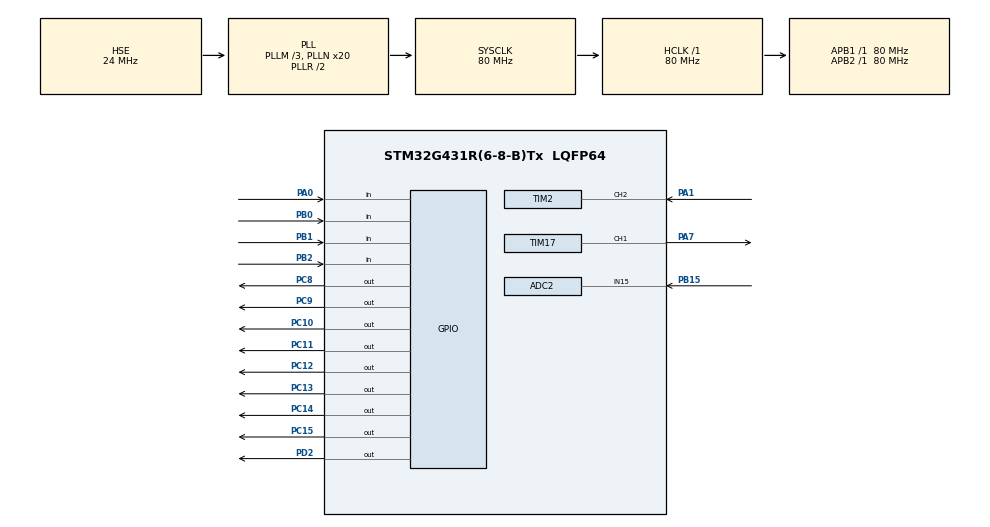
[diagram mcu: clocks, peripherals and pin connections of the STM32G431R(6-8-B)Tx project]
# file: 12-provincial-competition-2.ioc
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ADC2.Channel-0\#ChannelRegularConversion=ADC_CHANNEL_15
ADC2.NbrOfConversionFlag=1
ADC2.OffsetNumber-0\#ChannelRegularConversion=ADC_OFFSET_NONE
ADC2.Rank-0\#ChannelRegularConversion=1
ADC2.SamplingTime-0\#ChannelRegularConversion=ADC_SAMPLETIME_2CYCLES_5
Mcu.Family=STM32G4
Mcu.Name=STM32G431R(6-8-B)Tx
Mcu.Package=LQFP64
NVIC.PriorityGroup=NVIC_PRIORITYGROUP_4
NVIC.TIM2_IRQn=true\:0\:0\:false\:false\:true\:true\:true\:true
PA0.GPIO_PuPd=GPIO_PULLUP
PA0.Signal=GPIO_Input
PA1.Signal=S_TIM2_CH2
PA13.Mode=Serial_Wire
PA13.Signal=SYS_JTMS-SWDIO
PA14.Mode=Serial_Wire
PA14.Signal=SYS_JTCK-SWCLK
PA7.Signal=S_TIM17_CH1
PB0.GPIO_PuPd=GPIO_PULLUP
PB0.Signal=GPIO_Input
PB1.GPIO_PuPd=GPIO_PULLUP
PB1.Signal=GPIO_Input
PB15.Mode=IN15-Single-Ended
PB15.Signal=ADC2_IN15
PB2.GPIO_PuPd=GPIO_PULLUP
PB2.Signal=GPIO_Input
PC10.PinState=GPIO_PIN_SET
PC10.Signal=GPIO_Output
PC11.PinState=GPIO_PIN_SET
PC11.Signal=GPIO_Output
PC12.PinState=GPIO_PIN_SET
PC12.Signal=GPIO_Output
PC13.PinState=GPIO_PIN_SET
PC13.Signal=GPIO_Output
PC14-OSC32_IN.PinState=GPIO_PIN_SET
PC14-OSC32_IN.Signal=GPIO_Output
PC15-OSC32_OUT.PinState=GPIO_PIN_SET
PC15-OSC32_OUT.Signal=GPIO_Output
PC8.PinState=GPIO_PIN_SET
PC8.Signal=GPIO_Output
PC9.PinState=GPIO_PIN_SET
PC9.Signal=GPIO_Output
PD2.Signal=GPIO_Output
PF0-OSC_IN.Mode=HSE-External-Oscillator
PF0-OSC_IN.Signal=RCC_OSC_IN
PF1-OSC_OUT.Mode=HSE-External-Oscillator
PF1-OSC_OUT.Signal=RCC_OSC_OUT
ProjectManager.HeapSize=0x200
ProjectManager.StackSize=0x400
ProjectManager.TargetToolchain=MDK-ARM V5.32
RCC.ADC12Freq_Value=80000000
RCC.AHBFreq_Value=80000000
RCC.APB1Freq_Value=80000000
RCC.APB1TimFreq_Value=80000000
RCC.APB2Freq_Value=80000000
RCC.APB2TimFreq_Value=80000000
RCC.CortexFreq_Value=80000000
RCC.EXTERNAL_CLOCK_VALUE=12288000
RCC.HCLKFreq_Value=80000000
RCC.HSE_VALUE=24000000
RCC.HSI48_VALUE=48000000
RCC.HSI_VALUE=16000000
RCC.LSE_VALUE=32768
RCC.PLLM=RCC_PLLM_DIV3
RCC.PLLN=20
RCC.PLLSourceVirtual=RCC_PLLSOURCE_HSE
RCC.SYSCLKFreq_VALUE=80000000
RCC.SYSCLKSource=RCC_SYSCLKSOURCE_PLLCLK
RCC.USBFreq_Value=80000000
RCC.VCOOutputFreq_Value=160000000
SH.S_TIM17_CH1.0=TIM17_CH1,PWM Generation1 CH1
SH.S_TIM2_CH2.0=TIM2_CH2,Input_Capture2_from_TI2
TIM17.Channel=TIM_CHANNEL_1
TIM17.PeriodNoDither=100-1
TIM17.Prescaler=800-1
TIM2.Channel-Input_Capture2_from_TI2=TIM_CHANNEL_2
TIM2.Prescaler=80-1
VP_SYS_VS_DBSignals.Mode=DisableDeadBatterySignals
VP_TIM17_VS_ClockSourceINT.Mode=Enable_Timer
board=custom

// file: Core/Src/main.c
/* USER CODE BEGIN Header */
/**
  ******************************************************************************
  * @file           : main.c
  * @brief          : Main program body
  ******************************************************************************
  * @attention
  *
  * Copyright (c) 2025 STMicroelectronics.
  * All rights reserved.
  *
  * This software is licensed under terms that can be found in the LICENSE file
  * in the root directory of this software component.
  * If no LICENSE file comes with this software, it is provided AS-IS.
  *
  ******************************************************************************
  */
/* USER CODE END Header */
#include "main.h"
#include "adc.h"
#include "tim.h"
#include "gpio.h"

/* USER CODE BEGIN Includes */
#include "stdio.h"
#include "stdint.h"
#include "string.h"
#include "lcd.h"
/* USER CODE END Includes */

/* USER CODE BEGIN PV */
char text[20];
double r37;  // R37的值
uint32_t frq=0;
uint8_t setting=0, R=4, led_func_open=1;
uint8_t key_val, key_up, key_down, key_last_val;
/* USER CODE END PV */

void SystemClock_Config(void);
/* USER CODE BEGIN PFP */
void LCD_Proc(void);
void KEY_Proc(void);
void LED_Proc(void);
void LED_Show(uint8_t led, uint8_t mode);
/* USER CODE END PFP */

int main(void)
{

  /* MCU Configuration--------------------------------------------------------*/

  /* Reset of all peripherals, Initializes the Flash interface and the Systick. */
  HAL_Init();

  /* Configure the system clock */
  SystemClock_Config();

  /* Initialize all configured peripherals */
  MX_GPIO_Init();
  MX_ADC2_Init();
  MX_TIM2_Init();
  MX_TIM17_Init();
  /* USER CODE BEGIN 2 */
    LCD_Init();
    LCD_Clear(Black);
    LCD_SetBackColor(Black);
    LCD_SetTextColor(White);
    // ADC
    HAL_ADC_Start(&hadc2);
    HAL_ADCEx_Calibration_Start(&hadc2, ADC_SINGLE_ENDED);
    // TIM
    HAL_TIM_IC_Start_IT(&htim2, TIM_CHANNEL_2);
    HAL_TIM_PWM_Start(&htim17, TIM_CHANNEL_1);
  /* USER CODE END 2 */

  /* Infinite loop */
  /* USER CODE BEGIN WHILE */
  while (1)
  {
      LCD_Proc();
      KEY_Proc();
      LED_Proc();
    /* USER CODE END WHILE */

  }
}

void SystemClock_Config(void)
{
  RCC_OscInitTypeDef RCC_OscInitStruct = {0};
  RCC_ClkInitTypeDef RCC_ClkInitStruct = {0};

  /** Configure the main internal regulator output voltage
  */
  HAL_PWREx_ControlVoltageScaling(PWR_REGULATOR_VOLTAGE_SCALE1);

  /** Initializes the RCC Oscillators according to the specified parameters
  * in the RCC_OscInitTypeDef structure.
  */
  RCC_OscInitStruct.OscillatorType = RCC_OSCILLATORTYPE_HSE;
  RCC_OscInitStruct.HSEState = RCC_HSE_ON;
  RCC_OscInitStruct.PLL.PLLState = RCC_PLL_ON;
  RCC_OscInitStruct.PLL.PLLSource = RCC_PLLSOURCE_HSE;
  RCC_OscInitStruct.PLL.PLLM = RCC_PLLM_DIV3;
  RCC_OscInitStruct.PLL.PLLN = 20;
  RCC_OscInitStruct.PLL.PLLP = RCC_PLLP_DIV2;
  RCC_OscInitStruct.PLL.PLLQ = RCC_PLLQ_DIV2;
  RCC_OscInitStruct.PLL.PLLR = RCC_PLLR_DIV2;
  if (HAL_RCC_OscConfig(&RCC_OscInitStruct) != HAL_OK)
  {
    Error_Handler();
  }

  /** Initializes the CPU, AHB and APB buses clocks
  */
  RCC_ClkInitStruct.ClockType = RCC_CLOCKTYPE_HCLK|RCC_CLOCKTYPE_SYSCLK
                              |RCC_CLOCKTYPE_PCLK1|RCC_CLOCKTYPE_PCLK2;
  RCC_ClkInitStruct.SYSCLKSource = RCC_SYSCLKSOURCE_PLLCLK;
  RCC_ClkInitStruct.AHBCLKDivider = RCC_SYSCLK_DIV1;
  RCC_ClkInitStruct.APB1CLKDivider = RCC_HCLK_DIV1;
  RCC_ClkInitStruct.APB2CLKDivider = RCC_HCLK_DIV1;

  if (HAL_RCC_ClockConfig(&RCC_ClkInitStruct, FLASH_LATENCY_2) != HAL_OK)
  {
    Error_Handler();
  }
}

/* USER CODE BEGIN 4 */
double Get_ADCVol(ADC_HandleTypeDef* hadc){
    HAL_ADC_Start(hadc);
    uint32_t temp = HAL_ADC_GetValue(hadc);
    return (temp*3.3)/4096;
}
void HAL_TIM_IC_CaptureCallback(TIM_HandleTypeDef *htim){
    if(htim->Instance==TIM2){
        uint32_t temp = HAL_TIM_ReadCapturedValue(htim, TIM_CHANNEL_2);
        TIM2->CNT=0;
        frq=80000000/(80*temp);
    }
}
void LCD_Proc(void){
    if(setting){
        sprintf(text, "       Para         ");
        LCD_DisplayStringLine(Line1, (uint8_t*)text);
        sprintf(text, "       R:%d          ", R);
        LCD_DisplayStringLine(Line3, (uint8_t*)text);
    }else{
        sprintf(text, "       Data         ");
        LCD_DisplayStringLine(Line1, (uint8_t*)text);
        sprintf(text, "   FRQ:%dHz", frq);
        LCD_DisplayStringLine(Line3, (uint8_t*)text);
        r37=Get_ADCVol(&hadc2);
        sprintf(text, "   R37:%.2fV        ", r37);
        LCD_DisplayStringLine(Line5, (uint8_t*)text);
    }
    __HAL_TIM_SET_PRESCALER(&htim17, 800000*R/frq-1);
    TIM17->CCR1=(uint8_t)(r37*100/3.3);
}
uint8_t KEY_Scan(){
    uint8_t key_value=0;
    if(HAL_GPIO_ReadPin(GPIOB, GPIO_PIN_0)==GPIO_PIN_RESET){
        key_value=1;
    }
    if(HAL_GPIO_ReadPin(GPIOB, GPIO_PIN_1)==GPIO_PIN_RESET){
        key_value=2;
    }
    if(HAL_GPIO_ReadPin(GPIOB, GPIO_PIN_2)==GPIO_PIN_RESET){
        key_value=3;
    }
    if(HAL_GPIO_ReadPin(GPIOA, GPIO_PIN_0)==GPIO_PIN_RESET){
        key_value=4;
    }
    return key_value;
}
void KEY_Proc(void){
    key_val=KEY_Scan();
    key_down=key_val&(key_val^key_last_val);
    key_up=~key_val&(key_val^key_last_val);
    if(key_down==1){
        setting^=1;
        LCD_Clear(Black);
    }
    if(key_down==2 && setting){
        R+=2;
        if(R>10) R=10;
    }
    if(key_down==3 && setting){
        R-=2;
        if(R<2) R=2;
    }
    if(key_down==4){
        led_func_open^=1;
        if(led_func_open==0) LED_Show(0xff, 0);
    }
    key_last_val=key_val;
}
void LED_Proc(void){
    if(led_func_open){
        if(setting){
            LED_Show(0x01, 0);
            LED_Show(0x02, 1);
        }else{
            LED_Show(0x01, 1);
            LED_Show(0x02, 0);
        }
        if(r37>=1 && r37<3){
            LED_Show(0x04, 1);
        }else{
            LED_Show(0x04, 0);
        }
        if(frq>=1000 && frq<5000){
            LED_Show(0x08, 1);
        }else{
            LED_Show(0x08, 0);
        }
    }
}
void LED_Show(uint8_t led, uint8_t mode){
    if(mode){
        HAL_GPIO_WritePin(GPIOC, led<<8, GPIO_PIN_RESET);
        HAL_GPIO_WritePin(GPIOD, GPIO_PIN_2, GPIO_PIN_SET);
        HAL_GPIO_WritePin(GPIOD, GPIO_PIN_2, GPIO_PIN_RESET);
    }else{
        HAL_GPIO_WritePin(GPIOC, led<<8, GPIO_PIN_SET);
        HAL_GPIO_WritePin(GPIOD, GPIO_PIN_2, GPIO_PIN_SET);
        HAL_GPIO_WritePin(GPIOD, GPIO_PIN_2, GPIO_PIN_RESET);
    }
}
/* USER CODE END 4 */

void Error_Handler(void)
{
  __disable_irq();
  while (1)
  {
  }
}
